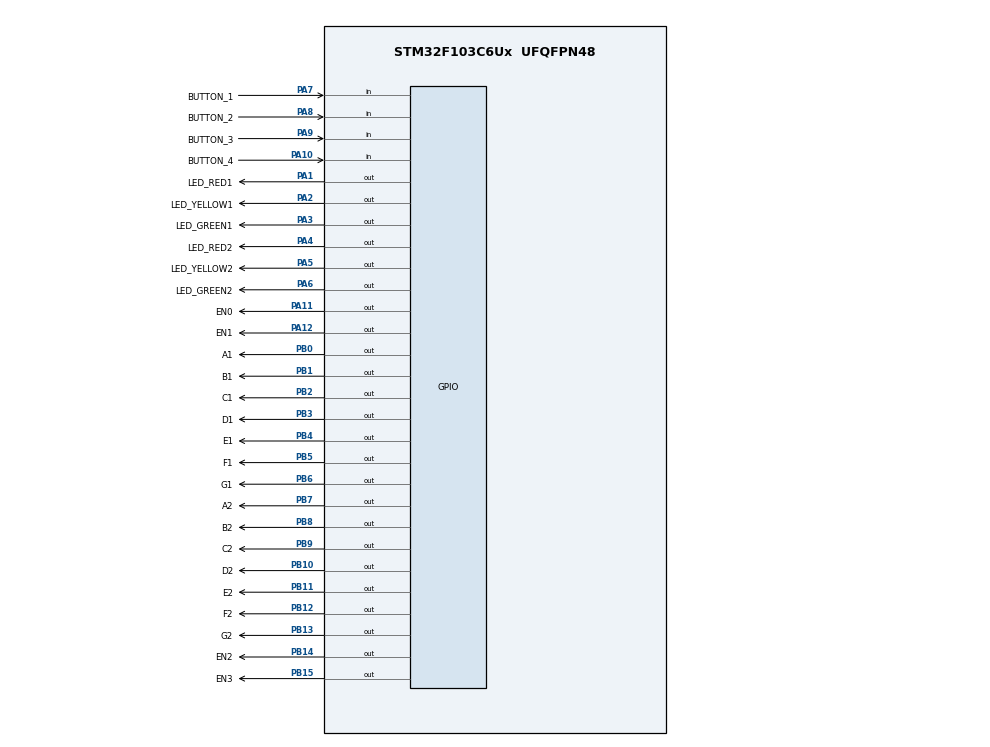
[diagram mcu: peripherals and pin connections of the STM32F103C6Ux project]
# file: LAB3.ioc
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Mcu.Family=STM32F1
Mcu.Name=STM32F103C6Ux
Mcu.Package=UFQFPN48
NVIC.PriorityGroup=NVIC_PRIORITYGROUP_4
NVIC.TIM2_IRQn=true\:0\:0\:false\:false\:true\:true\:true
PA1.GPIO_Label=LED_RED1
PA1.Signal=GPIO_Output
PA10.GPIO_Label=BUTTON_4
PA10.GPIO_PuPd=GPIO_PULLUP
PA10.Signal=GPIO_Input
PA11.GPIO_Label=EN0
PA11.Signal=GPIO_Output
PA12.GPIO_Label=EN1
PA12.Signal=GPIO_Output
PA13.Mode=Serial_Wire
PA13.Signal=SYS_JTMS-SWDIO
PA14.Mode=Serial_Wire
PA14.Signal=SYS_JTCK-SWCLK
PA2.GPIO_Label=LED_YELLOW1
PA2.Signal=GPIO_Output
PA3.GPIO_Label=LED_GREEN1
PA3.Signal=GPIO_Output
PA4.GPIO_Label=LED_RED2
PA4.Signal=GPIO_Output
PA5.GPIO_Label=LED_YELLOW2
PA5.Signal=GPIO_Output
PA6.GPIO_Label=LED_GREEN2
PA6.Signal=GPIO_Output
PA7.GPIO_Label=BUTTON_1
PA7.GPIO_PuPd=GPIO_PULLUP
PA7.Signal=GPIO_Input
PA8.GPIO_Label=BUTTON_2
PA8.GPIO_PuPd=GPIO_PULLUP
PA8.Signal=GPIO_Input
PA9.GPIO_Label=BUTTON_3
PA9.GPIO_PuPd=GPIO_PULLUP
PA9.Signal=GPIO_Input
PB0.GPIO_Label=A1
PB0.Signal=GPIO_Output
PB1.GPIO_Label=B1
PB1.Signal=GPIO_Output
PB10.GPIO_Label=D2
PB10.Signal=GPIO_Output
PB11.GPIO_Label=E2
PB11.Signal=GPIO_Output
PB12.GPIO_Label=F2
PB12.Signal=GPIO_Output
PB13.GPIO_Label=G2
PB13.Signal=GPIO_Output
PB14.GPIO_Label=EN2
PB14.Signal=GPIO_Output
PB15.GPIO_Label=EN3
PB15.Signal=GPIO_Output
PB2.GPIO_Label=C1
PB2.Signal=GPIO_Output
PB3.GPIO_Label=D1
PB3.Signal=GPIO_Output
PB4.GPIO_Label=E1
PB4.Signal=GPIO_Output
PB5.GPIO_Label=F1
PB5.Signal=GPIO_Output
PB6.GPIO_Label=G1
PB6.Signal=GPIO_Output
PB7.GPIO_Label=A2
PB7.Signal=GPIO_Output
PB8.GPIO_Label=B2
PB8.Signal=GPIO_Output
PB9.GPIO_Label=C2
PB9.Signal=GPIO_Output
ProjectManager.HeapSize=0x200
ProjectManager.StackSize=0x400
ProjectManager.TargetToolchain=STM32CubeIDE
RCC.APB1Freq_Value=8000000
RCC.APB2Freq_Value=8000000
TIM2.Period=9
TIM2.Prescaler=7999
VP_TIM2_VS_ClockSourceINT.Mode=Internal
board=custom

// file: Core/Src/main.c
/* USER CODE BEGIN Header */
/**
  ******************************************************************************
  * @file           : main.c
  * @brief          : Main program body
  ******************************************************************************
  * @attention
  *
  * <h2><center>&copy; Copyright (c) 2025 STMicroelectronics.
  * All rights reserved.</center></h2>
  *
  * This software component is licensed by ST under BSD 3-Clause license,
  * the "License"; You may not use this file except in compliance with the
  * License. You may obtain a copy of the License at:
  *                        opensource.org/licenses/BSD-3-Clause
  *
  ******************************************************************************
  */
/* USER CODE END Header */
#include "main.h"
#include "global.h"
#include "software_timer.h"
#include "input_processing.h"
#include "input_reading.h"
#include "LED_processing.h"
//#include "LED_processing.h"

TIM_HandleTypeDef htim2;

/* USER CODE BEGIN PV */

int time_RED = 5;
int time_GREEN = 3;
int time_YELLOW = 2;
int counter1 = 1;
int counter2 = 1;
enum State st = RED_MODIFY ;
/* USER CODE END PV */

void SystemClock_Config(void);
static void MX_GPIO_Init(void);
static void MX_TIM2_Init(void);

int main(void)
{

  /* MCU Configuration--------------------------------------------------------*/

  /* Reset of all peripherals, Initializes the Flash interface and the Systick. */
  HAL_Init();

  /* Configure the system clock */
  SystemClock_Config();

  /* Initialize all configured peripherals */
  MX_GPIO_Init();
  MX_TIM2_Init();
  /* USER CODE BEGIN 2 */
  HAL_TIM_Base_Start_IT(&htim2);
  /* USER CODE END 2 */

  /* Infinite loop */
  /* USER CODE BEGIN WHILE */
  setTimer(0,100);
  setTimer(1,10);
  setTimer(2, 50);
  st = START;
  while (1)
  {
	  fsm_normal();
	  fsm_for_input_processing();
	  fsm_modify();
//	  blinks_in_LED(2);
	  display_in_Pair(counter1,counter2);

//	  if (CheckButton(1)) counter1+=1;
//	  if (CheckButton(2)) counter2+=1;
    /* USER CODE END WHILE */

  }
}

void SystemClock_Config(void)
{
  RCC_OscInitTypeDef RCC_OscInitStruct = {0};
  RCC_ClkInitTypeDef RCC_ClkInitStruct = {0};

  /** Initializes the RCC Oscillators according to the specified parameters
  * in the RCC_OscInitTypeDef structure.
  */
  RCC_OscInitStruct.OscillatorType = RCC_OSCILLATORTYPE_HSI;
  RCC_OscInitStruct.HSIState = RCC_HSI_ON;
  RCC_OscInitStruct.HSICalibrationValue = RCC_HSICALIBRATION_DEFAULT;
  RCC_OscInitStruct.PLL.PLLState = RCC_PLL_NONE;
  if (HAL_RCC_OscConfig(&RCC_OscInitStruct) != HAL_OK)
  {
    Error_Handler();
  }
  /** Initializes the CPU, AHB and APB buses clocks
  */
  RCC_ClkInitStruct.ClockType = RCC_CLOCKTYPE_HCLK|RCC_CLOCKTYPE_SYSCLK
                              |RCC_CLOCKTYPE_PCLK1|RCC_CLOCKTYPE_PCLK2;
  RCC_ClkInitStruct.SYSCLKSource = RCC_SYSCLKSOURCE_HSI;
  RCC_ClkInitStruct.AHBCLKDivider = RCC_SYSCLK_DIV1;
  RCC_ClkInitStruct.APB1CLKDivider = RCC_HCLK_DIV1;
  RCC_ClkInitStruct.APB2CLKDivider = RCC_HCLK_DIV1;

  if (HAL_RCC_ClockConfig(&RCC_ClkInitStruct, FLASH_LATENCY_0) != HAL_OK)
  {
    Error_Handler();
  }
}

static void MX_TIM2_Init(void)
{

  TIM_ClockConfigTypeDef sClockSourceConfig = {0};
  TIM_MasterConfigTypeDef sMasterConfig = {0};

  htim2.Instance = TIM2;
  htim2.Init.Prescaler = 7999;
  htim2.Init.CounterMode = TIM_COUNTERMODE_UP;
  htim2.Init.Period = 9;
  htim2.Init.ClockDivision = TIM_CLOCKDIVISION_DIV1;
  htim2.Init.AutoReloadPreload = TIM_AUTORELOAD_PRELOAD_DISABLE;
  if (HAL_TIM_Base_Init(&htim2) != HAL_OK)
  {
    Error_Handler();
  }
  sClockSourceConfig.ClockSource = TIM_CLOCKSOURCE_INTERNAL;
  if (HAL_TIM_ConfigClockSource(&htim2, &sClockSourceConfig) != HAL_OK)
  {
    Error_Handler();
  }
  sMasterConfig.MasterOutputTrigger = TIM_TRGO_RESET;
  sMasterConfig.MasterSlaveMode = TIM_MASTERSLAVEMODE_DISABLE;
  if (HAL_TIMEx_MasterConfigSynchronization(&htim2, &sMasterConfig) != HAL_OK)
  {
    Error_Handler();
  }

}

static void MX_GPIO_Init(void)
{
  GPIO_InitTypeDef GPIO_InitStruct = {0};

  /* GPIO Ports Clock Enable */
  __HAL_RCC_GPIOA_CLK_ENABLE();
  __HAL_RCC_GPIOB_CLK_ENABLE();

  /*Configure GPIO pin Output Level */
  HAL_GPIO_WritePin(GPIOA, LED_RED1_Pin|LED_YELLOW1_Pin|LED_GREEN1_Pin|LED_RED2_Pin
                          |LED_YELLOW2_Pin|LED_GREEN2_Pin|EN0_Pin|EN1_Pin, GPIO_PIN_RESET);

  /*Configure GPIO pin Output Level */
  HAL_GPIO_WritePin(GPIOB, A1_Pin|B1_Pin|C1_Pin|D2_Pin
                          |E2_Pin|F2_Pin|G2_Pin|EN2_Pin
                          |EN3_Pin|D1_Pin|E1_Pin|F1_Pin
                          |G1_Pin|A2_Pin|B2_Pin|C2_Pin, GPIO_PIN_RESET);

  /*Configure GPIO pins : LED_RED1_Pin LED_YELLOW1_Pin LED_GREEN1_Pin LED_RED2_Pin
                           LED_YELLOW2_Pin LED_GREEN2_Pin EN0_Pin EN1_Pin */
  GPIO_InitStruct.Pin = LED_RED1_Pin|LED_YELLOW1_Pin|LED_GREEN1_Pin|LED_RED2_Pin
                          |LED_YELLOW2_Pin|LED_GREEN2_Pin|EN0_Pin|EN1_Pin;
  GPIO_InitStruct.Mode = GPIO_MODE_OUTPUT_PP;
  GPIO_InitStruct.Pull = GPIO_NOPULL;
  GPIO_InitStruct.Speed = GPIO_SPEED_FREQ_LOW;
  HAL_GPIO_Init(GPIOA, &GPIO_InitStruct);

  /*Configure GPIO pins : BUTTON_1_Pin BUTTON_2_Pin BUTTON_3_Pin BUTTON_4_Pin */
  GPIO_InitStruct.Pin = BUTTON_1_Pin|BUTTON_2_Pin|BUTTON_3_Pin|BUTTON_4_Pin;
  GPIO_InitStruct.Mode = GPIO_MODE_INPUT;
  GPIO_InitStruct.Pull = GPIO_PULLUP;
  HAL_GPIO_Init(GPIOA, &GPIO_InitStruct);

  /*Configure GPIO pins : A1_Pin B1_Pin C1_Pin D2_Pin
                           E2_Pin F2_Pin G2_Pin EN2_Pin
                           EN3_Pin D1_Pin E1_Pin F1_Pin
                           G1_Pin A2_Pin B2_Pin C2_Pin */
  GPIO_InitStruct.Pin = A1_Pin|B1_Pin|C1_Pin|D2_Pin
                          |E2_Pin|F2_Pin|G2_Pin|EN2_Pin
                          |EN3_Pin|D1_Pin|E1_Pin|F1_Pin
                          |G1_Pin|A2_Pin|B2_Pin|C2_Pin;
  GPIO_InitStruct.Mode = GPIO_MODE_OUTPUT_PP;
  GPIO_InitStruct.Pull = GPIO_NOPULL;
  GPIO_InitStruct.Speed = GPIO_SPEED_FREQ_LOW;
  HAL_GPIO_Init(GPIOB, &GPIO_InitStruct);

}

/* USER CODE BEGIN 4 */
void HAL_TIM_PeriodElapsedCallback ( TIM_HandleTypeDef * htim ){
	timerRun();
	button_reading();
}
/* USER CODE END 4 */

void Error_Handler(void)
{
  __disable_irq();
  while (1)
  {
  }
}

/************************ (C) COPYRIGHT STMicroelectronics *****END OF FILE****/
